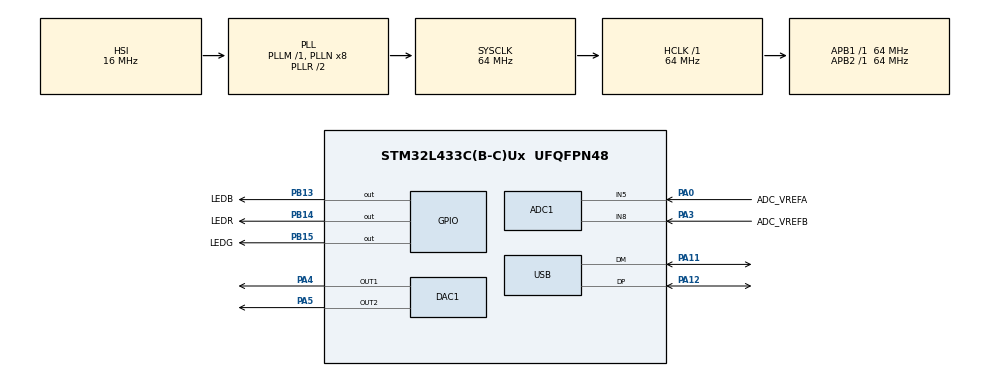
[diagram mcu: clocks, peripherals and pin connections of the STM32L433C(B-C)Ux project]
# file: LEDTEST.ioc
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ADC1.Channel-1\#ChannelRegularConversion=ADC_CHANNEL_5
ADC1.ClockPrescaler=ADC_CLOCK_ASYNC_DIV1
ADC1.ContinuousConvMode=DISABLE
ADC1.EnableInjectedConversion=DISABLE
ADC1.EnableRegularConversion=ENABLE
ADC1.NbrOfConversion=1
ADC1.NbrOfConversionFlag=1
ADC1.OffsetNumber-1\#ChannelRegularConversion=ADC_OFFSET_NONE
ADC1.OversamplingMode=DISABLE
ADC1.Rank-1\#ChannelRegularConversion=1
ADC1.SamplingTime-1\#ChannelRegularConversion=ADC_SAMPLETIME_2CYCLES_5
ADC1.master=1
DAC1.DAC_Channel-DAC_OUT2=DAC_CHANNEL_2
Mcu.Family=STM32L4
Mcu.Name=STM32L433C(B-C)Ux
Mcu.Package=UFQFPN48
NVIC.PriorityGroup=NVIC_PRIORITYGROUP_4
NVIC.USB_IRQn=true\:0\:0\:false\:false\:true\:false\:true
PA0.GPIO_Label=ADC_VREFA
PA0.Signal=ADCx_IN5
PA11.Mode=Device
PA11.Signal=USB_DM
PA12.Mode=Device
PA12.Signal=USB_DP
PA3.GPIO_Label=ADC_VREFB
PA3.Signal=ADCx_IN8
PA4.Signal=COMP_DAC11_group
PA5.Signal=COMP_DAC12_group
PB13.GPIO_Label=LEDB
PB13.Signal=GPIO_Output
PB14.GPIO_Label=LEDR
PB14.Signal=GPIO_Output
PB15.GPIO_Label=LEDG
PB15.Signal=GPIO_Output
ProjectManager.HeapSize=0x200
ProjectManager.StackSize=0x400
ProjectManager.TargetToolchain=STM32CubeIDE
RCC.ADCCLockSelection=RCC_ADCCLKSOURCE_SYSCLK
RCC.ADCFreq_Value=64000000
RCC.AHBFreq_Value=64000000
RCC.APB1Freq_Value=64000000
RCC.APB1TimFreq_Value=64000000
RCC.APB2Freq_Value=64000000
RCC.APB2TimFreq_Value=64000000
RCC.CK48CLockSelection=RCC_USBCLKSOURCE_HSI48
RCC.CortexFreq_Value=64000000
RCC.HCLKFreq_Value=64000000
RCC.HSE_VALUE=8000000
RCC.HSI48_VALUE=48000000
RCC.HSI_VALUE=16000000
RCC.LSE_VALUE=32768
RCC.MSI_VALUE=4000000
RCC.PLLSourceVirtual=RCC_PLLSOURCE_HSI
RCC.SYSCLKFreq_VALUE=64000000
RCC.SYSCLKSource=RCC_SYSCLKSOURCE_PLLCLK
RCC.USBFreq_Value=48000000
RCC.VCOOutputFreq_Value=128000000
SH.ADCx_IN5.0=ADC1_IN5,IN5-Single-Ended
SH.ADCx_IN8.0=ADC1_IN8,IN8-Single-Ended
SH.COMP_DAC11_group.0=DAC1_OUT1,DAC_OUT1
SH.COMP_DAC12_group.0=DAC1_OUT2,DAC_OUT2
USB_DEVICE.CLASS_NAME_FS=CDC
USB_DEVICE.VirtualMode=Cdc
USB_DEVICE.VirtualModeFS=Cdc_FS
VP_RTC_VS_RTC_Activate.Mode=RTC_Enabled
VP_USB_DEVICE_VS_USB_DEVICE_CDC_FS.Mode=CDC_FS
board=custom

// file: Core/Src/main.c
/* USER CODE BEGIN Header */
/**
  ******************************************************************************
  * @file           : main.c
  * @brief          : Main program body
  ******************************************************************************
  * @attention
  *
  * <h2><center>&copy; Copyright (c) 2020 STMicroelectronics.
  * All rights reserved.</center></h2>
  *
  * This software component is licensed by ST under BSD 3-Clause license,
  * the "License"; You may not use this file except in compliance with the
  * License. You may obtain a copy of the License at:
  *                        opensource.org/licenses/BSD-3-Clause
  *
  ******************************************************************************
  */
/* USER CODE END Header */
#include "main.h"
#include "usb_device.h"

ADC_HandleTypeDef hadc1;

DAC_HandleTypeDef hdac1;

RTC_HandleTypeDef hrtc;

void SystemClock_Config(void);
static void MX_GPIO_Init(void);
static void MX_ADC1_Init(void);
static void MX_DAC1_Init(void);
static void MX_RTC_Init(void);

int main(void)
{

  /* MCU Configuration--------------------------------------------------------*/

  /* Reset of all peripherals, Initializes the Flash interface and the Systick. */
  HAL_Init();

  /* Configure the system clock */
  SystemClock_Config();

  /* Initialize all configured peripherals */
  MX_GPIO_Init();
  MX_USB_DEVICE_Init();
  MX_ADC1_Init();
  MX_DAC1_Init();
  MX_RTC_Init();
  /* USER CODE BEGIN 2 */
  uint8_t buffer[20];

  /* USER CODE END 2 */

  /* Infinite loop */
  /* USER CODE BEGIN WHILE */
  while (1)
  {
	  HAL_GPIO_WritePin(LEDB_GPIO_Port, LEDB_Pin, 1);
	  strcpy(buffer,"B\r\n");
	  CDC_Transmit_FS(buffer, sizeof(buffer));
	  HAL_Delay(500);
	  HAL_GPIO_WritePin(LEDB_GPIO_Port, LEDB_Pin, 0);
	  HAL_Delay(500);

	  HAL_GPIO_WritePin(LEDR_GPIO_Port, LEDR_Pin, 1);
	  strcpy(buffer,"R\r\n");
	  CDC_Transmit_FS(buffer, sizeof(buffer));
	  HAL_Delay(500);
	  HAL_GPIO_WritePin(LEDR_GPIO_Port, LEDR_Pin, 0);
	  HAL_Delay(500);

	  HAL_GPIO_WritePin(LEDG_GPIO_Port, LEDG_Pin, 1);
	  strcpy(buffer,"G\r\n");
	  CDC_Transmit_FS(buffer, sizeof(buffer));
	  HAL_Delay(500);
	  HAL_GPIO_WritePin(LEDG_GPIO_Port, LEDG_Pin, 0);
	  HAL_Delay(500);
	  /* USER CODE END WHILE */

  }
}

void SystemClock_Config(void)
{
  RCC_OscInitTypeDef RCC_OscInitStruct = {0};
  RCC_ClkInitTypeDef RCC_ClkInitStruct = {0};
  RCC_PeriphCLKInitTypeDef PeriphClkInit = {0};

  /** Initializes the RCC Oscillators according to the specified parameters
  * in the RCC_OscInitTypeDef structure.
  */
  RCC_OscInitStruct.OscillatorType = RCC_OSCILLATORTYPE_HSI48|RCC_OSCILLATORTYPE_HSI
                              |RCC_OSCILLATORTYPE_LSI;
  RCC_OscInitStruct.HSIState = RCC_HSI_ON;
  RCC_OscInitStruct.HSI48State = RCC_HSI48_ON;
  RCC_OscInitStruct.HSICalibrationValue = RCC_HSICALIBRATION_DEFAULT;
  RCC_OscInitStruct.LSIState = RCC_LSI_ON;
  RCC_OscInitStruct.PLL.PLLState = RCC_PLL_ON;
  RCC_OscInitStruct.PLL.PLLSource = RCC_PLLSOURCE_HSI;
  RCC_OscInitStruct.PLL.PLLM = 1;
  RCC_OscInitStruct.PLL.PLLN = 8;
  RCC_OscInitStruct.PLL.PLLP = RCC_PLLP_DIV7;
  RCC_OscInitStruct.PLL.PLLQ = RCC_PLLQ_DIV2;
  RCC_OscInitStruct.PLL.PLLR = RCC_PLLR_DIV2;
  if (HAL_RCC_OscConfig(&RCC_OscInitStruct) != HAL_OK)
  {
    Error_Handler();
  }
  /** Initializes the CPU, AHB and APB buses clocks
  */
  RCC_ClkInitStruct.ClockType = RCC_CLOCKTYPE_HCLK|RCC_CLOCKTYPE_SYSCLK
                              |RCC_CLOCKTYPE_PCLK1|RCC_CLOCKTYPE_PCLK2;
  RCC_ClkInitStruct.SYSCLKSource = RCC_SYSCLKSOURCE_PLLCLK;
  RCC_ClkInitStruct.AHBCLKDivider = RCC_SYSCLK_DIV1;
  RCC_ClkInitStruct.APB1CLKDivider = RCC_HCLK_DIV1;
  RCC_ClkInitStruct.APB2CLKDivider = RCC_HCLK_DIV1;

  if (HAL_RCC_ClockConfig(&RCC_ClkInitStruct, FLASH_LATENCY_3) != HAL_OK)
  {
    Error_Handler();
  }
  PeriphClkInit.PeriphClockSelection = RCC_PERIPHCLK_RTC|RCC_PERIPHCLK_USB
                              |RCC_PERIPHCLK_ADC;
  PeriphClkInit.AdcClockSelection = RCC_ADCCLKSOURCE_SYSCLK;
  PeriphClkInit.RTCClockSelection = RCC_RTCCLKSOURCE_LSI;
  PeriphClkInit.UsbClockSelection = RCC_USBCLKSOURCE_HSI48;
  if (HAL_RCCEx_PeriphCLKConfig(&PeriphClkInit) != HAL_OK)
  {
    Error_Handler();
  }
  /** Configure the main internal regulator output voltage
  */
  if (HAL_PWREx_ControlVoltageScaling(PWR_REGULATOR_VOLTAGE_SCALE1) != HAL_OK)
  {
    Error_Handler();
  }
}

static void MX_ADC1_Init(void)
{

  ADC_ChannelConfTypeDef sConfig = {0};

  /** Common config
  */
  hadc1.Instance = ADC1;
  hadc1.Init.ClockPrescaler = ADC_CLOCK_ASYNC_DIV1;
  hadc1.Init.Resolution = ADC_RESOLUTION_12B;
  hadc1.Init.DataAlign = ADC_DATAALIGN_RIGHT;
  hadc1.Init.ScanConvMode = ADC_SCAN_DISABLE;
  hadc1.Init.EOCSelection = ADC_EOC_SINGLE_CONV;
  hadc1.Init.LowPowerAutoWait = DISABLE;
  hadc1.Init.ContinuousConvMode = DISABLE;
  hadc1.Init.NbrOfConversion = 1;
  hadc1.Init.DiscontinuousConvMode = DISABLE;
  hadc1.Init.ExternalTrigConv = ADC_SOFTWARE_START;
  hadc1.Init.ExternalTrigConvEdge = ADC_EXTERNALTRIGCONVEDGE_NONE;
  hadc1.Init.DMAContinuousRequests = DISABLE;
  hadc1.Init.Overrun = ADC_OVR_DATA_PRESERVED;
  hadc1.Init.OversamplingMode = DISABLE;
  if (HAL_ADC_Init(&hadc1) != HAL_OK)
  {
    Error_Handler();
  }
  /** Configure Regular Channel
  */
  sConfig.Channel = ADC_CHANNEL_5;
  sConfig.Rank = ADC_REGULAR_RANK_1;
  sConfig.SamplingTime = ADC_SAMPLETIME_2CYCLES_5;
  sConfig.SingleDiff = ADC_SINGLE_ENDED;
  sConfig.OffsetNumber = ADC_OFFSET_NONE;
  sConfig.Offset = 0;
  if (HAL_ADC_ConfigChannel(&hadc1, &sConfig) != HAL_OK)
  {
    Error_Handler();
  }

}

static void MX_DAC1_Init(void)
{

  DAC_ChannelConfTypeDef sConfig = {0};

  /** DAC Initialization
  */
  hdac1.Instance = DAC1;
  if (HAL_DAC_Init(&hdac1) != HAL_OK)
  {
    Error_Handler();
  }
  /** DAC channel OUT1 config
  */
  sConfig.DAC_SampleAndHold = DAC_SAMPLEANDHOLD_DISABLE;
  sConfig.DAC_Trigger = DAC_TRIGGER_NONE;
  sConfig.DAC_OutputBuffer = DAC_OUTPUTBUFFER_ENABLE;
  sConfig.DAC_ConnectOnChipPeripheral = DAC_CHIPCONNECT_DISABLE;
  sConfig.DAC_UserTrimming = DAC_TRIMMING_FACTORY;
  if (HAL_DAC_ConfigChannel(&hdac1, &sConfig, DAC_CHANNEL_1) != HAL_OK)
  {
    Error_Handler();
  }
  /** DAC channel OUT2 config
  */
  sConfig.DAC_ConnectOnChipPeripheral = DAC_CHIPCONNECT_DISABLE;
  if (HAL_DAC_ConfigChannel(&hdac1, &sConfig, DAC_CHANNEL_2) != HAL_OK)
  {
    Error_Handler();
  }

}

static void MX_RTC_Init(void)
{

  /** Initialize RTC Only
  */
  hrtc.Instance = RTC;
  hrtc.Init.HourFormat = RTC_HOURFORMAT_24;
  hrtc.Init.AsynchPrediv = 127;
  hrtc.Init.SynchPrediv = 255;
  hrtc.Init.OutPut = RTC_OUTPUT_DISABLE;
  hrtc.Init.OutPutRemap = RTC_OUTPUT_REMAP_NONE;
  hrtc.Init.OutPutPolarity = RTC_OUTPUT_POLARITY_HIGH;
  hrtc.Init.OutPutType = RTC_OUTPUT_TYPE_OPENDRAIN;
  if (HAL_RTC_Init(&hrtc) != HAL_OK)
  {
    Error_Handler();
  }

}

static void MX_GPIO_Init(void)
{
  GPIO_InitTypeDef GPIO_InitStruct = {0};

  /* GPIO Ports Clock Enable */
  __HAL_RCC_GPIOA_CLK_ENABLE();
  __HAL_RCC_GPIOB_CLK_ENABLE();

  /*Configure GPIO pin Output Level */
  HAL_GPIO_WritePin(GPIOB, LEDB_Pin|LEDR_Pin|LEDG_Pin, GPIO_PIN_RESET);

  /*Configure GPIO pins : LEDB_Pin LEDR_Pin LEDG_Pin */
  GPIO_InitStruct.Pin = LEDB_Pin|LEDR_Pin|LEDG_Pin;
  GPIO_InitStruct.Mode = GPIO_MODE_OUTPUT_PP;
  GPIO_InitStruct.Pull = GPIO_NOPULL;
  GPIO_InitStruct.Speed = GPIO_SPEED_FREQ_LOW;
  HAL_GPIO_Init(GPIOB, &GPIO_InitStruct);

}

/* USER CODE BEGIN 4 */
void HAL_Delay(uint32_t Delay)
{
  uint32_t tickstart = HAL_GetTick();
  uint32_t wait = Delay;

  /* Add a period to guaranty minimum wait */
  if (wait < HAL_MAX_DELAY)
  {
    wait += (uint32_t)uwTickFreq;
  }

  while ((HAL_GetTick() - tickstart) < wait)
  {
	  __WFI();
  }
}

/* USER CODE END 4 */

void Error_Handler(void)
{
}

/************************ (C) COPYRIGHT STMicroelectronics *****END OF FILE****/
